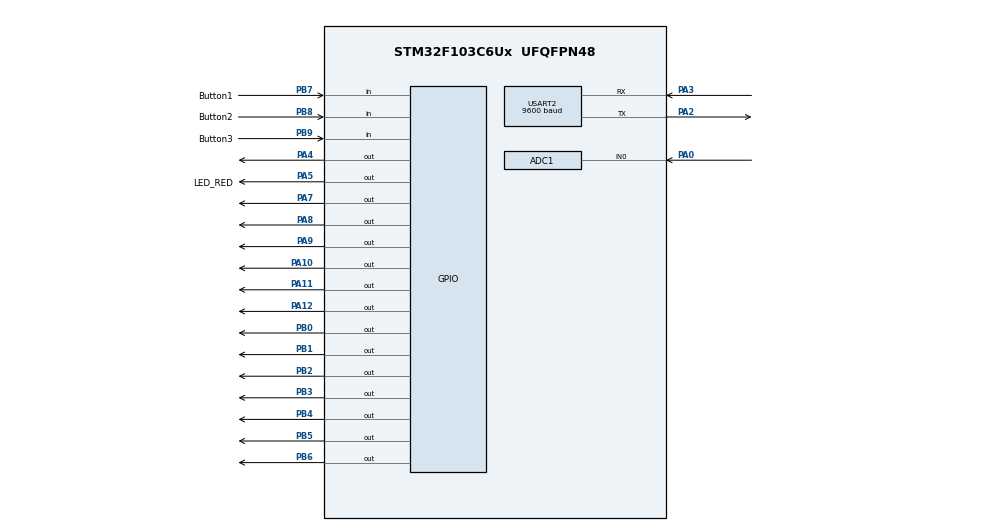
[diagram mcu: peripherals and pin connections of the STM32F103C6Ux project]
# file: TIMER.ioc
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ADC1.Channel-0\#ChannelRegularConversion=ADC_CHANNEL_0
ADC1.ContinuousConvMode=ENABLE
ADC1.NbrOfConversionFlag=1
ADC1.Rank-0\#ChannelRegularConversion=1
ADC1.SamplingTime-0\#ChannelRegularConversion=ADC_SAMPLETIME_1CYCLE_5
ADC1.master=1
Mcu.Family=STM32F1
Mcu.Name=STM32F103C6Ux
Mcu.Package=UFQFPN48
NVIC.PriorityGroup=NVIC_PRIORITYGROUP_4
NVIC.TIM2_IRQn=true\:0\:0\:false\:false\:true\:true\:true
NVIC.USART2_IRQn=true\:0\:0\:false\:false\:true\:true\:true
PA0-WKUP.Signal=ADCx_IN0
PA10.Signal=GPIO_Output
PA11.Signal=GPIO_Output
PA12.Signal=GPIO_Output
PA13.Mode=Serial_Wire
PA13.Signal=SYS_JTMS-SWDIO
PA14.Mode=Serial_Wire
PA14.Signal=SYS_JTCK-SWCLK
PA2.Mode=Asynchronous
PA2.Signal=USART2_TX
PA3.Mode=Asynchronous
PA3.Signal=USART2_RX
PA4.PinState=GPIO_PIN_SET
PA4.Signal=GPIO_Output
PA5.GPIO_Label=LED_RED
PA5.PinState=GPIO_PIN_SET
PA5.Signal=GPIO_Output
PA6.Signal=S_TIM3_CH1
PA7.Signal=GPIO_Output
PA8.Signal=GPIO_Output
PA9.Signal=GPIO_Output
PB0.Signal=GPIO_Output
PB1.Signal=GPIO_Output
PB2.Signal=GPIO_Output
PB3.Signal=GPIO_Output
PB4.Signal=GPIO_Output
PB5.Signal=GPIO_Output
PB6.Signal=GPIO_Output
PB7.GPIO_Label=Button1
PB7.GPIO_PuPd=GPIO_PULLUP
PB7.Signal=GPIO_Input
PB8.GPIO_Label=Button2
PB8.GPIO_PuPd=GPIO_PULLUP
PB8.Signal=GPIO_Input
PB9.GPIO_Label=Button3
PB9.GPIO_PuPd=GPIO_PULLUP
PB9.Signal=GPIO_Input
ProjectManager.HeapSize=0x200
ProjectManager.StackSize=0x400
ProjectManager.TargetToolchain=STM32CubeIDE
RCC.APB1Freq_Value=8000000
RCC.APB2Freq_Value=8000000
SH.ADCx_IN0.0=ADC1_IN0,IN0
SH.S_TIM3_CH1.0=TIM3_CH1
TIM2.Period=9
TIM2.Prescaler=7999
USART2.BaudRate=9600
USART2.VirtualMode=VM_ASYNC
VP_TIM2_VS_ClockSourceINT.Mode=Internal
board=custom

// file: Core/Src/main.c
/* USER CODE BEGIN Header */
/**
  ******************************************************************************
  * @file           : main.c
  * @brief          : Main program body
  ******************************************************************************
  * @attention
  *
  * <h2><center>&copy; Copyright (c) 2022 STMicroelectronics.
  * All rights reserved.</center></h2>
  *
  * This software component is licensed by ST under BSD 3-Clause license,
  * the "License"; You may not use this file except in compliance with the
  * License. You may obtain a copy of the License at:
  *                        opensource.org/licenses/BSD-3-Clause
  *
  ******************************************************************************
  */
/* USER CODE END Header */
#include "main.h"

/* USER CODE BEGIN Includes */
#include "stdio.h"
#include "command_parser_fsm.h"
#include "uart_communiation_fsm.h"
/* USER CODE END Includes */

ADC_HandleTypeDef hadc1;

TIM_HandleTypeDef htim2;

UART_HandleTypeDef huart2;

void SystemClock_Config(void);
static void MX_GPIO_Init(void);
static void MX_TIM2_Init(void);
static void MX_ADC1_Init(void);
static void MX_USART2_UART_Init(void);

/* USER CODE BEGIN 0 */
//void ledred(){
//	HAL_GPIO_TogglePin(GPIOA, GPIO_PIN_9);
//}
//void ledgreen(){
//	HAL_GPIO_TogglePin(GPIOA, GPIO_PIN_8);
//}
//void ledblue(){
//	HAL_GPIO_TogglePin(GPIOA, GPIO_PIN_7);
//}
//void ledpurple(){
//	HAL_GPIO_TogglePin(GPIOA, GPIO_PIN_6);
//}
//void ledyellow(){
//	HAL_GPIO_TogglePin(GPIOA, GPIO_PIN_5);
//}
//uint8_t temp = 0;
//void HAL_UART_RxCpltCallback ( UART_HandleTypeDef * huart ) {
//if( huart->Instance == USART2 ) {
//	HAL_UART_Transmit (& huart2 , &temp , 1 , 50) ;
//	HAL_UART_Receive_IT (& huart2 , &temp , 1) ;
//	}
//}

uint8_t temp = 0;
void HAL_UART_RxCpltCallback(UART_HandleTypeDef *huart){
	if(huart->Instance == USART2){
		//HAL_UART_Transmit(&huart2, &temp, 1, 50);
		buffer[index_buffer++] = temp;
		if(index_buffer == 30) index_buffer = 0;
		HAL_UART_Receive_IT(&huart2, &temp, 1);
		buffer_flag = 1;
	}
}
/* USER CODE END 0 */

int main(void)
{

  /* MCU Configuration--------------------------------------------------------*/

  /* Reset of all peripherals, Initializes the Flash interface and the Systick. */
  HAL_Init();

  /* Configure the system clock */
  SystemClock_Config();

  /* Initialize all configured peripherals */
  MX_GPIO_Init();
  MX_TIM2_Init();
  MX_ADC1_Init();
  MX_USART2_UART_Init();
  /* USER CODE BEGIN 2 */
  HAL_TIM_Base_Start_IT(&htim2);
  /* USER CODE END 2 */

  /* Infinite loop */
  /* USER CODE BEGIN WHILE */

   HAL_Init () ;
   SystemClock_Config () ;

   MX_GPIO_Init () ;
   MX_USART2_UART_Init () ;
   MX_ADC1_Init () ;
   HAL_ADC_Start(&hadc1);
   HAL_UART_Receive_IT (& huart2 , & temp , 1) ;

  while (1)
  {
//	  SCH_Dispatch_Tasks();
    /* USER CODE END WHILE */
//	  ADC_value = HAL_ADC_GetValue (&hadc1 ) ;
//	  ADC_value = 1234;
//
//	  HAL_UART_Transmit(&huart2 , ( void *) str ,sprintf ( str , "%ld\n", ADC_value ), 500) ;
//	  HAL_Delay(500);
	  if(buffer_flag == 1){
		  command_parser_fsm () ;
		  buffer_flag = 0;
	  }
	      uart_communiation_fsm();
  }
}

void SystemClock_Config(void)
{
  RCC_OscInitTypeDef RCC_OscInitStruct = {0};
  RCC_ClkInitTypeDef RCC_ClkInitStruct = {0};
  RCC_PeriphCLKInitTypeDef PeriphClkInit = {0};

  /** Initializes the RCC Oscillators according to the specified parameters
  * in the RCC_OscInitTypeDef structure.
  */
  RCC_OscInitStruct.OscillatorType = RCC_OSCILLATORTYPE_HSI;
  RCC_OscInitStruct.HSIState = RCC_HSI_ON;
  RCC_OscInitStruct.HSICalibrationValue = RCC_HSICALIBRATION_DEFAULT;
  RCC_OscInitStruct.PLL.PLLState = RCC_PLL_NONE;
  if (HAL_RCC_OscConfig(&RCC_OscInitStruct) != HAL_OK)
  {
    Error_Handler();
  }
  /** Initializes the CPU, AHB and APB buses clocks
  */
  RCC_ClkInitStruct.ClockType = RCC_CLOCKTYPE_HCLK|RCC_CLOCKTYPE_SYSCLK
                              |RCC_CLOCKTYPE_PCLK1|RCC_CLOCKTYPE_PCLK2;
  RCC_ClkInitStruct.SYSCLKSource = RCC_SYSCLKSOURCE_HSI;
  RCC_ClkInitStruct.AHBCLKDivider = RCC_SYSCLK_DIV1;
  RCC_ClkInitStruct.APB1CLKDivider = RCC_HCLK_DIV1;
  RCC_ClkInitStruct.APB2CLKDivider = RCC_HCLK_DIV1;

  if (HAL_RCC_ClockConfig(&RCC_ClkInitStruct, FLASH_LATENCY_0) != HAL_OK)
  {
    Error_Handler();
  }
  PeriphClkInit.PeriphClockSelection = RCC_PERIPHCLK_ADC;
  PeriphClkInit.AdcClockSelection = RCC_ADCPCLK2_DIV2;
  if (HAL_RCCEx_PeriphCLKConfig(&PeriphClkInit) != HAL_OK)
  {
    Error_Handler();
  }
}

static void MX_ADC1_Init(void)
{

  ADC_ChannelConfTypeDef sConfig = {0};

  /** Common config
  */
  hadc1.Instance = ADC1;
  hadc1.Init.ScanConvMode = ADC_SCAN_DISABLE;
  hadc1.Init.ContinuousConvMode = ENABLE;
  hadc1.Init.DiscontinuousConvMode = DISABLE;
  hadc1.Init.ExternalTrigConv = ADC_SOFTWARE_START;
  hadc1.Init.DataAlign = ADC_DATAALIGN_RIGHT;
  hadc1.Init.NbrOfConversion = 1;
  if (HAL_ADC_Init(&hadc1) != HAL_OK)
  {
    Error_Handler();
  }
  /** Configure Regular Channel
  */
  sConfig.Channel = ADC_CHANNEL_0;
  sConfig.Rank = ADC_REGULAR_RANK_1;
  sConfig.SamplingTime = ADC_SAMPLETIME_1CYCLE_5;
  if (HAL_ADC_ConfigChannel(&hadc1, &sConfig) != HAL_OK)
  {
    Error_Handler();
  }

}

static void MX_TIM2_Init(void)
{

  TIM_ClockConfigTypeDef sClockSourceConfig = {0};
  TIM_MasterConfigTypeDef sMasterConfig = {0};

  htim2.Instance = TIM2;
  htim2.Init.Prescaler = 7999;
  htim2.Init.CounterMode = TIM_COUNTERMODE_UP;
  htim2.Init.Period = 9;
  htim2.Init.ClockDivision = TIM_CLOCKDIVISION_DIV1;
  htim2.Init.AutoReloadPreload = TIM_AUTORELOAD_PRELOAD_DISABLE;
  if (HAL_TIM_Base_Init(&htim2) != HAL_OK)
  {
    Error_Handler();
  }
  sClockSourceConfig.ClockSource = TIM_CLOCKSOURCE_INTERNAL;
  if (HAL_TIM_ConfigClockSource(&htim2, &sClockSourceConfig) != HAL_OK)
  {
    Error_Handler();
  }
  sMasterConfig.MasterOutputTrigger = TIM_TRGO_RESET;
  sMasterConfig.MasterSlaveMode = TIM_MASTERSLAVEMODE_DISABLE;
  if (HAL_TIMEx_MasterConfigSynchronization(&htim2, &sMasterConfig) != HAL_OK)
  {
    Error_Handler();
  }

}

static void MX_USART2_UART_Init(void)
{

  huart2.Instance = USART2;
  huart2.Init.BaudRate = 9600;
  huart2.Init.WordLength = UART_WORDLENGTH_8B;
  huart2.Init.StopBits = UART_STOPBITS_1;
  huart2.Init.Parity = UART_PARITY_NONE;
  huart2.Init.Mode = UART_MODE_TX_RX;
  huart2.Init.HwFlowCtl = UART_HWCONTROL_NONE;
  huart2.Init.OverSampling = UART_OVERSAMPLING_16;
  if (HAL_UART_Init(&huart2) != HAL_OK)
  {
    Error_Handler();
  }

}

static void MX_GPIO_Init(void)
{
  GPIO_InitTypeDef GPIO_InitStruct = {0};

  /* GPIO Ports Clock Enable */
  __HAL_RCC_GPIOA_CLK_ENABLE();
  __HAL_RCC_GPIOB_CLK_ENABLE();

  /*Configure GPIO pin Output Level */
  HAL_GPIO_WritePin(GPIOA, GPIO_PIN_4|LED_RED_Pin, GPIO_PIN_SET);

  /*Configure GPIO pin Output Level */
  HAL_GPIO_WritePin(GPIOA, GPIO_PIN_7|GPIO_PIN_8|GPIO_PIN_9|GPIO_PIN_10
                          |GPIO_PIN_11|GPIO_PIN_12, GPIO_PIN_RESET);

  /*Configure GPIO pin Output Level */
  HAL_GPIO_WritePin(GPIOB, GPIO_PIN_0|GPIO_PIN_1|GPIO_PIN_2|GPIO_PIN_3
                          |GPIO_PIN_4|GPIO_PIN_5|GPIO_PIN_6, GPIO_PIN_RESET);

  /*Configure GPIO pins : PA4 LED_RED_Pin PA7 PA8
                           PA9 PA10 PA11 PA12 */
  GPIO_InitStruct.Pin = GPIO_PIN_4|LED_RED_Pin|GPIO_PIN_7|GPIO_PIN_8
                          |GPIO_PIN_9|GPIO_PIN_10|GPIO_PIN_11|GPIO_PIN_12;
  GPIO_InitStruct.Mode = GPIO_MODE_OUTPUT_PP;
  GPIO_InitStruct.Pull = GPIO_NOPULL;
  GPIO_InitStruct.Speed = GPIO_SPEED_FREQ_LOW;
  HAL_GPIO_Init(GPIOA, &GPIO_InitStruct);

  /*Configure GPIO pin : PA6 */
  GPIO_InitStruct.Pin = GPIO_PIN_6;
  GPIO_InitStruct.Mode = GPIO_MODE_AF_PP;
  GPIO_InitStruct.Speed = GPIO_SPEED_FREQ_LOW;
  HAL_GPIO_Init(GPIOA, &GPIO_InitStruct);

  /*Configure GPIO pins : PB0 PB1 PB2 PB3
                           PB4 PB5 PB6 */
  GPIO_InitStruct.Pin = GPIO_PIN_0|GPIO_PIN_1|GPIO_PIN_2|GPIO_PIN_3
                          |GPIO_PIN_4|GPIO_PIN_5|GPIO_PIN_6;
  GPIO_InitStruct.Mode = GPIO_MODE_OUTPUT_PP;
  GPIO_InitStruct.Pull = GPIO_NOPULL;
  GPIO_InitStruct.Speed = GPIO_SPEED_FREQ_LOW;
  HAL_GPIO_Init(GPIOB, &GPIO_InitStruct);

  /*Configure GPIO pins : Button1_Pin Button2_Pin Button3_Pin */
  GPIO_InitStruct.Pin = Button1_Pin|Button2_Pin|Button3_Pin;
  GPIO_InitStruct.Mode = GPIO_MODE_INPUT;
  GPIO_InitStruct.Pull = GPIO_PULLUP;
  HAL_GPIO_Init(GPIOB, &GPIO_InitStruct);

}

/* USER CODE BEGIN 4 */

void HAL_TIM_PeriodElapsedCallback(TIM_HandleTypeDef *htim){
	timerRun();
}
/* USER CODE END 4 */

void Error_Handler(void)
{
  __disable_irq();
  while (1)
  {
  }
}

/************************ (C) COPYRIGHT STMicroelectronics *****END OF FILE****/
